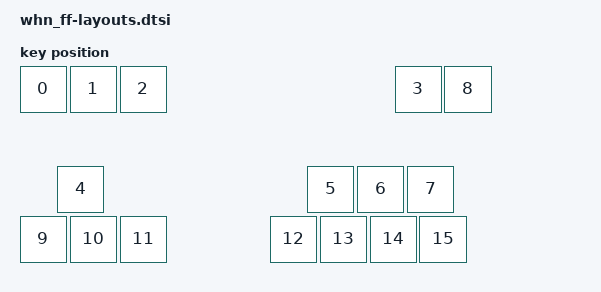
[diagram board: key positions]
#include <physical_layouts.dtsi>

/ {
    physical_layout_whn_ff: physical_layout_whn_ff {
        compatible = "zmk,physical-layout";
        display-name = "whn_ff";
        keys  //                     w   h    x    y     rot    rx    ry
            = <&key_physical_attrs 100 100    0    0       0     0     0>
            , <&key_physical_attrs 100 100  100    0       0   100     0>
            , <&key_physical_attrs 100 100  200    0       0   200     0>
            , <&key_physical_attrs 100 100  750    0       0   750     0>
            , <&key_physical_attrs 100 100   75  200       0    75   200>
            , <&key_physical_attrs 100 100  575  200       0   575   200>
            , <&key_physical_attrs 100 100  675  200       0   675   200>
            , <&key_physical_attrs 100 100  775  200       0   775   200>
            , <&key_physical_attrs 100 100  850    0       0   850     0>
            , <&key_physical_attrs 100 100    0  300       0     0   300>
            , <&key_physical_attrs 100 100  100  300       0   100   300>
            , <&key_physical_attrs 100 100  200  300       0   200   300>
            , <&key_physical_attrs 100 100  500  300       0   500   300>
            , <&key_physical_attrs 100 100  600  300       0   600   300>
            , <&key_physical_attrs 100 100  700  300       0   700   300>
            , <&key_physical_attrs 100 100  800  300       0   800   300>
            ;
    };
};
